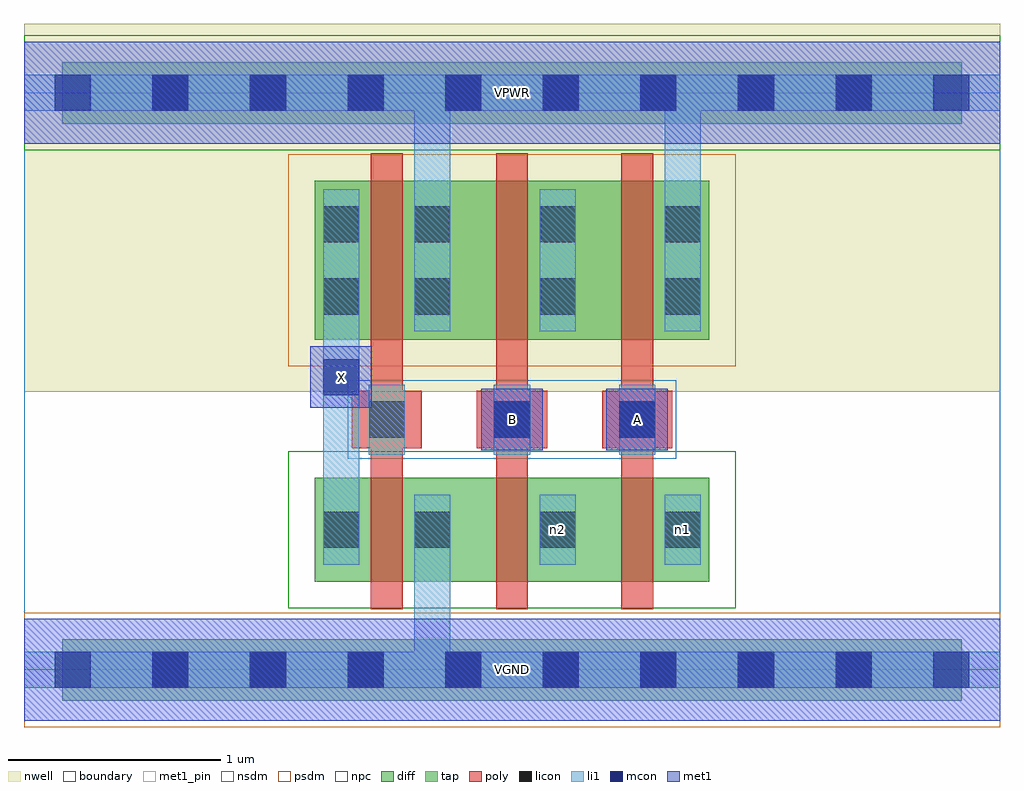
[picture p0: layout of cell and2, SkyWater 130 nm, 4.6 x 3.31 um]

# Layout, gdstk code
import gdstk
lib = gdstk.Library(unit=1e-6, precision=1e-09)
def R(c, l, rs):  # rectangles x0, y0, x1, y1
    for r in rs: c.add(gdstk.rectangle(r[:2], r[2:], *l))
def A(c, l, x, y, w, h, nx, ny, dx, dy):  # array of equal rectangles
    R(c, l, [(x+i*dx, y+j*dy, x+i*dx+w, y+j*dy+h) for i in range(nx) for j in range(ny)])
nwell = (64, 20)
diff = (65, 20)
tap = (65, 44)
poly = (66, 20)
licon = (66, 44)
li1 = (67, 20)
mcon = (67, 44)
met1_pin = (68, 16)
met1 = (68, 20)
nsdm = (93, 44)
psdm = (94, 20)
npc = (95, 20)
boundary = (235, 4)

and2 = lib.new_cell('and2')
R(and2, nwell, [(0,1.31,4.6,3.045)])
R(and2, diff, [(1.37,0.415,3.23,0.905), (1.37,1.555,3.23,2.305)])
R(and2, tap, [(0.18,-0.145,4.42,0.145), (0.18,2.575,4.42,2.865)])
A(and2, poly, 1.635, 0.285, 0.15, 2.15, 3, 1, 0.59, 0)
A(and2, poly, 1.545, 1.045, 0.33, 0.27, 3, 1, 0.59, 0)
A(and2, licon, 0.605, -0.085, 0.17, 0.17, 8, 2, 0.46, 2.72)
A(and2, licon, 1.84, 0.575, 0.17, 0.17, 3, 2, 0.59, 1.1)
A(and2, licon, 1.625, 1.095, 0.17, 0.17, 3, 1, 0.59, 0)
A(and2, licon, 1.84, 2.015, 0.17, 0.17, 3, 1, 0.59, 0)
R(and2, licon, [(1.41,0.575,1.58,0.745), (1.41,1.675,1.58,1.845), (1.41,2.015,1.58,2.185)])
A(and2, li1, 1.84, 0.495, 0.17, 0.33, 3, 1, 0.59, 0)
A(and2, li1, 1.625, 1.015, 0.17, 0.33, 3, 1, 0.59, 0)
A(and2, li1, 1.84, 1.595, 0.17, 0.67, 3, 1, 0.59, 0)
R(and2, li1, [(0,-0.085,4.6,0.085), (1.84,-0.085,2.01,0.825), (1.41,0.495,1.58,0.825), (1.41,0.495,1.58,2.265), (1.41,1.595,1.58,2.265), (1.84,1.595,2.01,2.805), (3.02,1.595,3.19,2.805), (0,2.635,4.6,2.805)])
A(and2, mcon, 0.145, -0.085, 0.17, 0.17, 10, 2, 0.46, 2.72)
R(and2, mcon, [(2.215,1.095,2.385,1.265), (2.805,1.095,2.975,1.265), (1.41,1.295,1.58,1.465)])
R(and2, met1_pin, [(0,-0.24,4.6,0.24), (2.155,1.035,2.445,1.325), (2.745,1.035,3.035,1.325), (1.35,1.235,1.64,1.525), (0,2.48,4.6,2.96)])
R(and2, met1, [(0,-0.24,4.6,0.24), (2.155,1.035,2.445,1.325), (2.745,1.035,3.035,1.325), (1.35,1.235,1.64,1.525), (0,2.48,4.6,2.96)])
R(and2, nsdm, [(1.245,0.29,3.355,1.03), (0,2.45,4.6,2.99)])
R(and2, psdm, [(0,-0.27,4.6,0.27), (1.245,1.43,3.355,2.43)])
R(and2, npc, [(1.525,0.995,3.075,1.365)])
R(and2, boundary, [(0,0,4.6,2.72)])
and2.add(gdstk.Label('n2', (2.515,0.66), layer=67, texttype=5))
and2.add(gdstk.Label('n1', (3.105,0.66), layer=67, texttype=5))
and2.add(gdstk.Label('A', (2.89,1.18), layer=68, texttype=5))
and2.add(gdstk.Label('B', (2.3,1.18), layer=68, texttype=5))
and2.add(gdstk.Label('X', (1.495,1.38), layer=68, texttype=5))
and2.add(gdstk.Label('VPWR', (2.3,2.72), layer=68, texttype=5))
and2.add(gdstk.Label('VGND', (2.3,0), layer=68, texttype=5))
and2.add(gdstk.Label('A', (2.89,1.18), layer=68, texttype=16))
and2.add(gdstk.Label('B', (2.3,1.18), layer=68, texttype=16))
and2.add(gdstk.Label('X', (1.495,1.38), layer=68, texttype=16))
and2.add(gdstk.Label('VPWR', (2.3,2.72), layer=68, texttype=16))
and2.add(gdstk.Label('VGND', (2.3,0), layer=68, texttype=16))

lib.write_gds('and2.gds')
